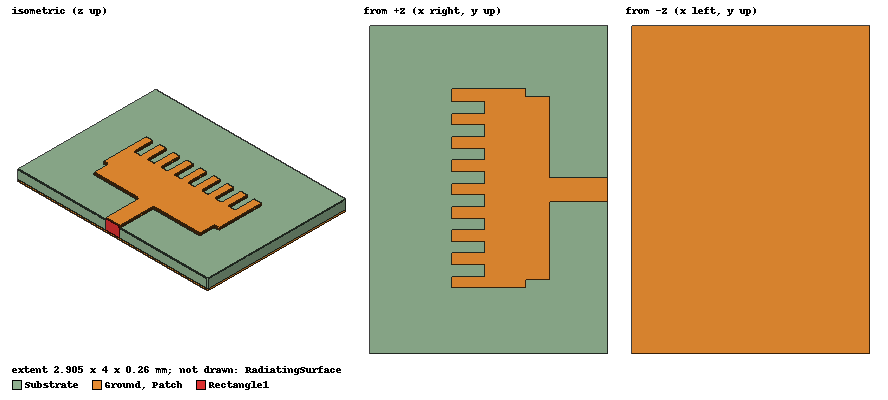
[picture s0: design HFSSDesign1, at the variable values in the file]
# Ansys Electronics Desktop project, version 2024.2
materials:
  vacuum: permittivity=1
  copper: permeability=0.999991 conductivity=58000000
  Rogers RT/duroid 5880 (tm): permittivity=2.2 dielectric_loss_tangent=0.0009

design HFSSDesign1 (HFSS, HFSS Terminal Network, model units mm)
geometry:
  Ground [copper] = box(corner=(0mm, 0mm, 0mm), size=(2.905mm, 4mm, 0.035mm))
  Substrate [Rogers RT/duroid 5880 (tm)] = box(corner=(0mm, 0mm, 0.035mm), size=(2.905mm, 4mm, 0.19mm))
  Feedline = box(corner=(1.485mm, 1.85mm, 0.225mm), size=(1.42mm, 0.3mm, 0.035mm))
  Patch [copper] = box(corner=(1mm, 0.8mm, 0.225mm), size=(1.2mm, 2.43mm, 0.035mm))
  Patch.unite(Feedline)
  Rectangle1 = rectangle(corner=(2.905mm, 1.85mm, 0.26mm), y_size=0.3mm, z_size=-0.225mm)
  RadiatingSurface [vacuum] = region(absolute_offset=1.2987013mm on all sides)
  cut1 = box(corner=(1.9mm, 0.8mm, 0.225mm), size=(0.3mm, 0.1mm, 0.035mm))
  Patch.subtract(cut1)
  cut2 = box(corner=(1.9mm, 3.13mm, 0.225mm), size=(0.3mm, 0.1mm, 0.035mm))
  Patch.subtract(cut2)
  Slot1 = box(corner=(1mm, 0.942mm, 0.225mm), size=(0.4mm, 0.142mm, 0.035mm))
  Slot2 = box(corner=(1mm, 1.226mm, 0.225mm), size=(0.4mm, 0.142mm, 0.035mm))
  Slot3 = box(corner=(1mm, 1.51mm, 0.225mm), size=(0.4mm, 0.142mm, 0.035mm))
  Slot4 = box(corner=(1mm, 1.794mm, 0.225mm), size=(0.4mm, 0.142mm, 0.035mm))
  Slot5 = box(corner=(1mm, 2.078mm, 0.225mm), size=(0.4mm, 0.142mm, 0.035mm))
  Slot6 = box(corner=(1mm, 2.362mm, 0.225mm), size=(0.4mm, 0.142mm, 0.035mm))
  Slot7 = box(corner=(1mm, 2.646mm, 0.225mm), size=(0.4mm, 0.142mm, 0.035mm))
  Slot8 = box(corner=(1mm, 2.93mm, 0.225mm), size=(0.4mm, 0.142mm, 0.035mm))
  Patch.subtract(Slot1..Slot8)
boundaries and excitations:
  Open1: Radiation Objects=RadiatingSurface
  1: Lumped Port Objects=Rectangle1 LumpedPortType=Modal Modes{Mode1{IntLine{(2.905, 2, 0.035) -> (2.905, 2, 0.26)} CharImp=Zpi}} Impedance=50ohm
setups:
  Setup1: HfssDriven MultipleAdaptiveFreqsSetup{Low=60GHz High=80GHz} MaxDeltaS=0.02 MaximumPasses=6 MinimumPasses=1 MinimumConvergedPasses=1 PercentRefinement=30 BasisOrder=1 PortAccuracy=2 DrivenSolverType="Direct Solver"
    sweep Sweep: 60GHz to 80GHz step 0.05GHz; Type=Interpolating InterpTolerance=0.5 InterpMaxSolns=250 PassivityErrorTolerance=0.0001
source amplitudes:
  1:1: 1V 0deg
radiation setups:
  3D: Infinite Sphere Theta=0deg..180deg step 2deg Phi=-180deg..180deg step 2deg
  Elevation: Infinite Sphere Theta=-180deg..180deg step 1deg Phi=0deg..90deg step 90deg
  Azimuth: Infinite Sphere Theta=90deg..90deg step 0deg Phi=-180deg..180deg step 1deg
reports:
  S Parameter Plot 1: dB(S(1,1)) vs Freq on Setup1 : Sweep
